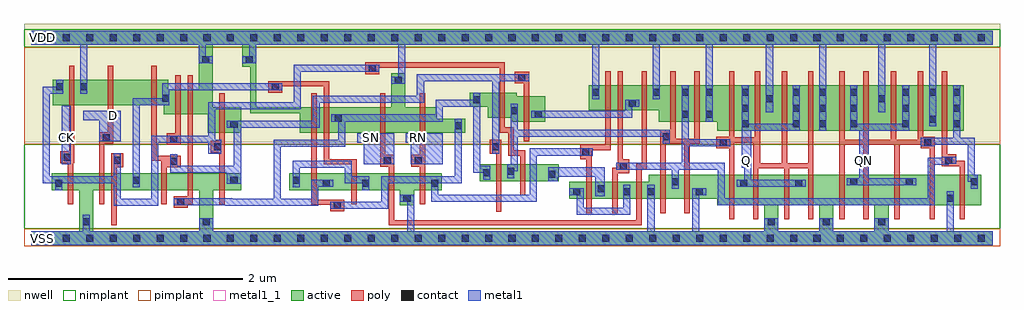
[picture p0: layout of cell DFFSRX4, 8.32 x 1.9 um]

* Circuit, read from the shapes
.subckt DFFSRX4 CK D Q QN RN SN VDD VSS
M1 VSS CK n1 VSS nfet w=0.145u l=0.045u
M2 n2 D VSS VSS nfet w=0.145u l=0.045u
M3 n3 n1 n2 VSS nfet w=0.145u l=0.045u
M4 n4 n5 n3 VSS nfet w=0.145u l=0.045u
M5 VSS n6 n4 VSS nfet w=0.145u l=0.045u
M6 n5 n1 VSS VSS nfet w=0.145u l=0.045u
M7 n6 n7 n8 VSS nfet w=0.145u l=0.045u
M8 n8 n3 n6 VSS nfet w=0.145u l=0.045u
M9 VSS SN n8 VSS nfet w=0.145u l=0.045u
M10 n7 RN VSS VSS nfet w=0.145u l=0.045u
M11 n9 n5 n6 VSS nfet w=0.145u l=0.045u
M12 n10 n1 n9 VSS nfet w=0.145u l=0.045u
M13 n10 n7 n11 VSS nfet w=0.145u l=0.045u
M14 n11 n12 n10 VSS nfet w=0.145u l=0.045u
M15 VSS SN n11 VSS nfet w=0.145u l=0.045u
M16 n12 n9 VSS VSS nfet w=0.205u l=0.045u m=2
M17 Q n12 VSS VSS nfet w=0.26u l=0.045u m=4
M18 QN n13 VSS VSS nfet w=0.26u l=0.045u m=4
M19 n13 n12 VSS VSS nfet w=0.26u l=0.045u
M20 VDD CK n1 VDD pfet w=0.215u l=0.045u
M21 n14 D VDD VDD pfet w=0.215u l=0.045u
M22 n3 n5 n14 VDD pfet w=0.215u l=0.045u
M23 n15 n1 n3 VDD pfet w=0.215u l=0.045u
M24 VDD n6 n15 VDD pfet w=0.215u l=0.045u
M25 n5 n1 VDD VDD pfet w=0.215u l=0.045u
M26 n16 n7 VDD VDD pfet w=0.215u l=0.045u
M27 n6 n3 n16 VDD pfet w=0.215u l=0.045u
M28 VDD SN n6 VDD pfet w=0.215u l=0.045u
M29 n7 RN VDD VDD pfet w=0.215u l=0.045u
M30 n9 n1 n6 VDD pfet w=0.215u l=0.045u
M31 n17 n5 n9 VDD pfet w=0.215u l=0.045u
M32 n18 n7 VDD VDD pfet w=0.215u l=0.045u
M33 n17 n12 n18 VDD pfet w=0.215u l=0.045u
M34 VDD SN n17 VDD pfet w=0.215u l=0.045u
M35 n12 n9 VDD VDD pfet w=0.31u l=0.045u m=2
M36 Q n12 VDD VDD pfet w=0.39u l=0.045u m=4
M37 QN n13 VDD VDD pfet w=0.39u l=0.045u m=4
M38 n13 n12 VDD VDD pfet w=0.39u l=0.045u
.ends

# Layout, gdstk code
import gdstk
lib = gdstk.Library(unit=1e-6, precision=5e-10)
def R(c, l, rs):  # rectangles x0, y0, x1, y1
    for r in rs: c.add(gdstk.rectangle(r[:2], r[2:], *l))
def A(c, l, x, y, w, h, nx, ny, dx, dy):  # array of equal rectangles
    R(c, l, [(x+i*dx, y+j*dy, x+i*dx+w, y+j*dy+h) for i in range(nx) for j in range(ny)])
def P(c, l, *ps):  # polygons
    for p in ps: c.add(gdstk.Polygon(p, *l))
active = (1, 0)
nwell = (2, 0)
poly = (3, 0)
nimplant = (4, 0)
pimplant = (5, 0)
contact = (6, 0)
metal1 = (7, 0)
metal1_1 = (7, 1)

dffsrx4 = lib.new_cell('DFFSRX4')
R(dffsrx4, active, [(3.825,0.485,4.5,0.63)])
P(dffsrx4, active, [(0,1.77),(8.2,1.77),(8.2,1.65),(1.92,1.65),(1.92,1.115),(3.07,1.115),(3.07,1.405),(3.19,1.405),(3.19,1.115),(3.46,1.115),(3.46,1.02),(3.7,1.02),(3.7,0.9),(2.29,0.9),(2.29,1.065),(1.87,1.065),(1.87,1.46),(1.8,1.46),(1.8,1.65),(1.55,1.65),(1.55,1.115),(1.79,1.115),(1.79,0.9),(1.505,0.9),(1.505,1.055),(1.13,1.055),(1.13,1.135),(0.185,1.135),(0.185,1.35),(1.17,1.35),(1.17,1.27),(1.43,1.27),(1.43,1.65),(0,1.65)],
  [(4.755,1.305),(7.95,1.305),(7.95,0.915),(5.85,0.915),(5.85,0.995),(5.35,0.995),(5.35,1.09),(4.755,1.09)],
  [(3.74,1.24),(4.14,1.24),(4.14,1.21),(4.385,1.21),(4.385,0.995),(4.1,0.995),(4.1,1.025),(3.895,1.025),(3.895,1.12),(3.74,1.12)],
  [(0.175,0.555),(1.79,0.555),(1.79,0.41),(1.555,0.41),(1.555,0.06),(6.25,0.06),(6.25,0.28),(6.37,0.28),(6.37,0.06),(6.72,0.06),(6.72,0.28),(6.84,0.28),(6.84,0.06),(7.19,0.06),(7.19,0.28),(5.85,0.28),(5.85,0.335),(4.59,0.335),(4.59,0.48),(5.265,0.48),(5.265,0.54),(8.1,0.54),(8.1,0.28),(7.31,0.28),(7.31,0.06),(8.2,0.06),(8.2,-0.06),(0,-0.06),(0,0.06),(0.41,0.06),(0.41,0.41),(0.53,0.41),(0.53,0.06),(1.435,0.06),(1.435,0.41),(0.175,0.41)],
  [(2.2,0.555),(3.5,0.555),(3.5,0.41),(3.265,0.41),(3.265,0.28),(3.145,0.28),(3.145,0.41),(2.2,0.41)])
R(dffsrx4, nwell, [(-0.06,0.82,8.26,1.83)])
P(dffsrx4, poly, [(0.325,1.47),(0.37,1.47),(0.37,0.64),(0.36,0.64),(0.36,0.29),(0.315,0.29),(0.315,0.64),(0.25,0.64),(0.25,0.74),(0.325,0.74)],
  [(0.655,1.47),(0.7,1.47),(0.7,0.805),(0.625,0.805),(0.625,0.29),(0.58,0.29),(0.58,0.905),(0.655,0.905)],
  [(1.025,1.47),(1.07,1.47),(1.07,0.705),(1.275,0.705),(1.275,0.605),(1.155,0.605),(1.155,0.29),(1.11,0.29),(1.11,0.66),(1.025,0.66)],
  [(1.23,1.39),(1.275,1.39),(1.275,0.795),(1.155,0.795),(1.155,0.895),(1.23,0.895)],
  [(1.335,1.39),(1.38,1.39),(1.38,0.29),(1.335,0.29),(1.335,0.26),(1.215,0.26),(1.215,0.36),(1.335,0.36)],
  [(2.85,1.5),(4.04,1.5),(4.04,0.945),(4.115,0.945),(4.115,0.75),(4.215,0.75),(4.215,0.365),(4.17,0.365),(4.17,0.705),(4.07,0.705),(4.07,0.9),(3.995,0.9),(3.995,1.455),(2.97,1.455),(2.97,1.4),(2.85,1.4)],
  [(1.605,1.235),(1.65,1.235),(1.65,0.29),(1.605,0.29),(1.605,0.73),(1.53,0.73),(1.53,0.83),(1.605,0.83)],
  [(2.02,1.34),(2.54,1.34),(2.54,0.675),(2.775,0.675),(2.775,0.29),(2.73,0.29),(2.73,0.63),(2.495,0.63),(2.495,1.295),(2.14,1.295),(2.14,1.24),(2.02,1.24)],
  [(2.39,1.235),(2.435,1.235),(2.435,0.33),(2.67,0.33),(2.67,0.23),(2.55,0.23),(2.55,0.285),(2.39,0.285)],
  [(4.125,1.42),(4.245,1.42),(4.245,0.825),(4.2,0.825),(4.2,1.32),(4.125,1.32)],
  [(4.895,1.425),(4.94,1.425),(4.94,0.75),(4.78,0.75),(4.78,0.215),(4.735,0.215),(4.735,0.675),(4.68,0.675),(4.68,0.795),(4.895,0.795)],
  [(5,1.425),(5.045,1.425),(5.045,0.675),(5.1,0.675),(5.1,0.555),(5,0.555),(5,0.215),(4.955,0.215),(4.955,0.6),(5,0.6)],
  [(2.975,1.235),(3.02,1.235),(3.02,0.71),(3.095,0.71),(3.095,0.155),(5.16,0.155),(5.16,0.635),(5.205,0.635),(5.205,1.425),(5.25,1.425),(5.25,0.59),(5.205,0.59),(5.205,0.11),(3.05,0.11),(3.05,0.61),(2.975,0.61)],
  [(5.45,1.425),(5.495,1.425),(5.495,0.85),(5.655,0.85),(5.655,1.425),(5.7,1.425),(5.7,0.805),(5.615,0.805),(5.615,0.215),(5.57,0.215),(5.57,0.805),(5.41,0.805),(5.41,0.215),(5.365,0.215),(5.365,0.925),(5.45,0.925)],
  [(5.95,1.425),(5.995,1.425),(5.995,0.86),(6.17,0.86),(6.17,1.425),(6.215,1.425),(6.215,0.64),(6.4,0.64),(6.4,1.425),(6.445,1.425),(6.445,0.64),(6.625,0.64),(6.625,1.425),(6.67,1.425),(6.67,0.16),(6.625,0.16),(6.625,0.595),(6.465,0.595),(6.465,0.16),(6.42,0.16),(6.42,0.595),(6.2,0.595),(6.2,0.16),(6.155,0.16),(6.155,0.815),(5.995,0.815),(5.995,0.16),(5.95,0.16),(5.95,0.765),(5.84,0.765),(5.84,0.865),(5.95,0.865)],
  [(6.89,1.425),(6.935,1.425),(6.935,0.84),(7.095,0.84),(7.095,1.425),(7.14,1.425),(7.14,0.84),(7.33,0.84),(7.33,1.425),(7.375,1.425),(7.375,0.84),(7.56,0.84),(7.56,1.425),(7.605,1.425),(7.605,0.865),(7.705,0.865),(7.705,0.16),(7.66,0.16),(7.66,0.765),(7.585,0.765),(7.585,0.795),(7.405,0.795),(7.405,0.16),(7.36,0.16),(7.36,0.795),(7.14,0.795),(7.14,0.16),(7.095,0.16),(7.095,0.795),(6.935,0.795),(6.935,0.16),(6.89,0.16)],
  [(7.765,1.425),(7.81,1.425),(7.81,0.715),(7.885,0.715),(7.885,0.66),(7.96,0.66),(7.96,0.16),(7.915,0.16),(7.915,0.615),(7.765,0.615)],
  [(0.685,0.725),(0.785,0.725),(0.785,0.605),(0.73,0.605),(0.73,0.11),(0.685,0.11)],
  [(3.315,1.235),(3.36,1.235),(3.36,0.29),(3.315,0.29),(3.315,0.61),(3.24,0.61),(3.24,0.71),(3.315,0.71)],
  [(3.91,0.84),(4.01,0.84),(4.01,0.225),(3.965,0.225),(3.965,0.72),(3.91,0.72)])
R(dffsrx4, nimplant, [(-0.06,0.08,8.26,0.8), (-0.06,1.63,8.26,1.78)])
R(dffsrx4, pimplant, [(-0.06,-0.07,8.26,0.08), (-0.06,0.8,8.26,1.63)])
A(dffsrx4, contact, 0.07, -0.03, 0.06, 0.06, 41, 2, 0.2, 1.71)
A(dffsrx4, contact, 6.28, 0.11, 0.06, 0.06, 3, 1, 0.47, 0)
A(dffsrx4, contact, 6.06, 0.945, 0.06, 0.06, 1, 3, 0, 0.135)
A(dffsrx4, contact, 6.495, 0.945, 0.06, 0.06, 1, 3, 0, 0.135)
A(dffsrx4, contact, 6.72, 0.945, 0.06, 0.06, 1, 3, 0, 0.135)
A(dffsrx4, contact, 6.985, 0.945, 0.06, 0.06, 1, 3, 0, 0.135)
A(dffsrx4, contact, 7.425, 0.945, 0.06, 0.06, 1, 3, 0, 0.135)
A(dffsrx4, contact, 7.86, 0.945, 0.06, 0.06, 1, 3, 0, 0.135)
R(dffsrx4, contact, [(0.44,0.11,0.5,0.17), (1.465,0.11,1.525,0.17), (2.58,0.25,2.64,0.31), (1.245,0.28,1.305,0.34), (3.175,0.31,3.235,0.37), (7.805,0.31,7.865,0.37), (4.62,0.365,4.68,0.425), (5.05,0.365,5.11,0.425), (5.255,0.365,5.315,0.425), (5.665,0.365,5.725,0.425), (4.83,0.39,4.89,0.45), (0.205,0.44,0.265,0.5), (2.485,0.44,2.545,0.5), (2.825,0.44,2.885,0.5), (3.41,0.44,3.47,0.5), (6.045,0.44,6.105,0.5), (6.515,0.44,6.575,0.5), (5.46,0.45,5.52,0.51), (6.985,0.45,7.045,0.51), (7.455,0.45,7.515,0.51), (8.01,0.45,8.07,0.51), (0.865,0.465,0.925,0.525), (1.7,0.465,1.76,0.525), (2.23,0.465,2.29,0.525), (4.41,0.515,4.47,0.575), (3.855,0.53,3.915,0.59), (4.06,0.54,4.12,0.6), (5.02,0.585,5.08,0.645), (1.185,0.625,1.245,0.685), (3.005,0.63,3.065,0.69), (3.27,0.63,3.33,0.69), (0.705,0.635,0.765,0.695), (7.795,0.635,7.855,0.695), (0.28,0.66,0.34,0.72), (4.7,0.705,4.76,0.765), (1.56,0.75,1.62,0.81), (3.93,0.75,3.99,0.81), (5.87,0.785,5.93,0.845), (7.615,0.785,7.675,0.845), (1.185,0.815,1.245,0.875), (0.61,0.825,0.67,0.885), (5.385,0.835,5.445,0.895), (3.61,0.93,3.67,0.99), (1.7,0.94,1.76,1), (7.655,0.985,7.715,1.045), (2.59,0.995,2.65,1.055), (4.295,1.025,4.355,1.085), (5.545,1.025,5.605,1.085), (5.75,1.025,5.81,1.085), (4.09,1.055,4.15,1.115), (5.095,1.12,5.155,1.18), (3.77,1.15,3.83,1.21), (6.265,1.16,6.325,1.22), (7.22,1.16,7.28,1.22), (1.12,1.165,1.18,1.225), (4.785,1.215,4.845,1.275), (5.3,1.215,5.36,1.275), (5.545,1.215,5.605,1.275), (5.75,1.215,5.81,1.275), (7.655,1.215,7.715,1.275), (0.215,1.26,0.275,1.32), (0.42,1.26,0.48,1.32), (2.05,1.26,2.11,1.32), (3.1,1.315,3.16,1.375), (4.155,1.34,4.215,1.4), (2.88,1.42,2.94,1.48), (1.46,1.49,1.52,1.55), (1.83,1.49,1.89,1.55)])
R(dffsrx4, metal1, [(0.26,0.63,0.34,1.13)])
P(dffsrx4, metal1, [(0,1.77),(8.2,1.77),(8.2,1.65),(7.715,1.65),(7.715,0.955),(7.655,0.955),(7.655,1.65),(7.28,1.65),(7.28,1.075),(7.22,1.075),(7.22,1.65),(6.78,1.65),(6.78,0.915),(6.72,0.915),(6.72,1.65),(6.325,1.65),(6.325,1.075),(6.265,1.075),(6.265,1.65),(5.81,1.65),(5.81,0.995),(5.75,0.995),(5.75,1.65),(5.36,1.65),(5.36,1.185),(5.3,1.185),(5.3,1.65),(4.845,1.65),(4.845,1.185),(4.785,1.185),(4.785,1.65),(3.19,1.65),(3.19,1.315),(3.07,1.315),(3.07,1.375),(3.13,1.375),(3.13,1.65),(1.92,1.65),(1.92,1.49),(1.8,1.49),(1.8,1.55),(1.86,1.55),(1.86,1.65),(1.49,1.65),(1.49,1.55),(1.55,1.55),(1.55,1.49),(1.43,1.49),(1.43,1.65),(0.48,1.65),(0.48,1.23),(0.42,1.23),(0.42,1.65),(0,1.65)],
  [(1.12,1.32),(2.14,1.32),(2.14,1.26),(1.18,1.26),(1.18,1.135),(0.925,1.135),(0.925,0.435),(0.865,0.435),(0.865,1.195),(1.12,1.195)],
  [(2.24,1.48),(2.97,1.48),(2.97,1.42),(2.3,1.42),(2.3,1.1),(1.57,1.1),(1.57,0.84),(1.62,0.84),(1.62,0.72),(1.51,0.72),(1.51,0.815),(1.085,0.815),(1.085,0.275),(0.705,0.275),(0.705,0.47),(0.265,0.47),(0.265,0.41),(0.205,0.41),(0.205,0.47),(0.1,0.47),(0.1,1.29),(0.215,1.29),(0.215,1.35),(0.275,1.35),(0.275,1.23),(0.16,1.23),(0.16,0.53),(0.705,0.53),(0.705,0.725),(0.765,0.725),(0.765,0.335),(1.025,0.335),(1.025,0.875),(1.51,0.875),(1.51,1.16),(2.24,1.16)],
  [(3.29,1.4),(4.245,1.4),(4.245,1.34),(3.99,1.34),(3.99,0.72),(3.93,0.72),(3.93,1.34),(3.35,1.34),(3.35,1.155),(2.46,1.155),(2.46,0.94),(1.79,0.94),(1.79,0.465),(1.67,0.465),(1.67,0.56),(1.185,0.56),(1.185,0.715),(1.245,0.715),(1.245,0.62),(1.73,0.62),(1.73,0.94),(1.67,0.94),(1.67,1),(2.4,1),(2.4,1.215),(3.29,1.215)],
  [(3.77,1.24),(3.83,1.24),(3.83,0.62),(3.915,0.62),(3.915,0.5),(3.855,0.5),(3.855,0.56),(3.77,0.56),(3.77,1.12),(3.51,1.12),(3.51,0.995),(2.68,0.995),(2.68,0.78),(2.13,0.78),(2.13,0.335),(2.39,0.335),(2.39,0.5),(2.575,0.5),(2.575,0.44),(2.45,0.44),(2.45,0.275),(1.655,0.275),(1.655,0.28),(1.215,0.28),(1.215,0.34),(1.715,0.34),(1.715,0.335),(2.07,0.335),(2.07,0.84),(2.62,0.84),(2.62,0.995),(2.56,0.995),(2.56,1.055),(3.45,1.055),(3.45,1.18),(3.77,1.18)],
  [(0.445,1.085),(0.765,1.085),(0.765,0.825),(0.58,0.825),(0.58,1.005),(0.445,1.005)],
  [(3.61,1.02),(3.67,1.02),(3.67,0.47),(3.47,0.47),(3.47,0.37),(4.25,0.37),(4.25,0.765),(4.79,0.765),(4.79,0.705),(4.31,0.705),(4.31,0.31),(3.41,0.31),(3.41,0.47),(3.045,0.47),(3.045,0.25),(2.55,0.25),(2.55,0.31),(2.985,0.31),(2.985,0.53),(3.61,0.53)],
  [(2.78,0.895),(3.095,0.895),(3.095,0.63),(2.835,0.63),(2.835,0.815),(2.78,0.815)],
  [(3.195,0.895),(3.51,0.895),(3.51,0.63),(3.235,0.63),(3.235,0.815),(3.195,0.815)],
  [(2.23,0.66),(2.735,0.66),(2.735,0.53),(2.885,0.53),(2.885,0.41),(2.825,0.41),(2.825,0.47),(2.675,0.47),(2.675,0.6),(2.29,0.6),(2.29,0.435),(2.23,0.435)],
  [(4.09,1.145),(4.15,1.145),(4.15,0.925),(5.445,0.925),(5.445,0.805),(5.385,0.805),(5.385,0.865),(4.15,0.865),(4.15,0.57),(4.12,0.57),(4.12,0.51),(4.06,0.51),(4.06,0.63),(4.09,0.63)],
  [(5.065,1.18),(5.185,1.18),(5.185,1.12),(5.125,1.12),(5.125,1.025),(4.265,1.025),(4.265,1.085),(5.065,1.085)],
  [(5.545,1.305),(5.605,1.305),(5.605,0.845),(5.96,0.845),(5.96,0.785),(5.605,0.785),(5.605,0.645),(5.915,0.645),(5.915,0.34),(7.645,0.34),(7.645,0.685),(7.765,0.685),(7.765,0.695),(7.885,0.695),(7.885,0.635),(7.825,0.635),(7.825,0.625),(7.705,0.625),(7.705,0.28),(5.855,0.28),(5.855,0.585),(5.52,0.585),(5.52,0.42),(5.46,0.42),(5.46,0.585),(4.99,0.585),(4.99,0.645),(5.545,0.645)],
  [(6.06,1.305),(6.12,1.305),(6.12,0.975),(6.495,0.975),(6.495,1.305),(6.555,1.305),(6.555,0.915),(6.14,0.915),(6.14,0.5),(6.605,0.5),(6.605,0.44),(6.015,0.44),(6.015,0.5),(6.08,0.5),(6.08,0.6),(6.06,0.6)],
  [(6.985,1.305),(7.045,1.305),(7.045,0.975),(7.425,0.975),(7.425,1.305),(7.485,1.305),(7.485,0.915),(7.14,0.915),(7.14,0.51),(7.545,0.51),(7.545,0.45),(6.955,0.45),(6.955,0.51),(7.06,0.51),(7.06,0.915),(6.985,0.915)],
  [(7.86,1.305),(7.92,1.305),(7.92,0.855),(8.045,0.855),(8.045,0.54),(8.07,0.54),(8.07,0.42),(8.01,0.42),(8.01,0.48),(7.985,0.48),(7.985,0.795),(7.705,0.795),(7.705,0.785),(7.585,0.785),(7.585,0.855),(7.86,0.855)],
  [(3.145,0.37),(3.265,0.37),(3.265,0.06),(5.255,0.06),(5.255,0.455),(5.315,0.455),(5.315,0.06),(5.635,0.06),(5.635,0.425),(5.755,0.425),(5.755,0.365),(5.695,0.365),(5.695,0.06),(6.25,0.06),(6.25,0.17),(6.37,0.17),(6.37,0.06),(6.72,0.06),(6.72,0.17),(6.84,0.17),(6.84,0.06),(7.19,0.06),(7.19,0.17),(7.31,0.17),(7.31,0.06),(7.805,0.06),(7.805,0.4),(7.865,0.4),(7.865,0.06),(8.2,0.06),(8.2,-0.06),(0,-0.06),(0,0.06),(0.44,0.06),(0.44,0.2),(0.5,0.2),(0.5,0.06),(1.435,0.06),(1.435,0.17),(1.555,0.17),(1.555,0.06),(3.205,0.06),(3.205,0.31),(3.145,0.31)],
  [(4.41,0.605),(4.89,0.605),(4.89,0.36),(4.81,0.36),(4.81,0.525),(4.49,0.525),(4.49,0.485),(4.41,0.485)],
  [(4.59,0.425),(4.71,0.425),(4.71,0.26),(5.05,0.26),(5.05,0.455),(5.11,0.455),(5.11,0.2),(4.65,0.2),(4.65,0.365),(4.59,0.365)])
R(dffsrx4, metal1_1, [(0.06,-0.04,0.14,0.04), (6.06,0.625,6.14,0.705), (7.06,0.625,7.14,0.705), (0.26,0.815,0.34,0.895), (2.86,0.815,2.94,0.895), (3.26,0.815,3.34,0.895), (0.66,1.005,0.74,1.085), (0.06,1.67,0.14,1.75)])
dffsrx4.add(gdstk.Label('QN', (7.1,0.665), layer=7, texttype=1))
dffsrx4.add(gdstk.Label('Q', (6.1,0.665), layer=7, texttype=1))
dffsrx4.add(gdstk.Label('RN', (3.3,0.855), layer=7, texttype=1))
dffsrx4.add(gdstk.Label('SN', (2.9,0.855), layer=7, texttype=1))
dffsrx4.add(gdstk.Label('D', (0.7,1.045), layer=7, texttype=1))
dffsrx4.add(gdstk.Label('CK', (0.3,0.855), layer=7, texttype=1))
dffsrx4.add(gdstk.Label('VDD', (0.1,1.71), layer=7, texttype=1))
dffsrx4.add(gdstk.Label('VSS', (0.1,0), layer=7, texttype=1))
dffsrx4.add(gdstk.Label('DFFSRX4', (0,0), layer=63, texttype=0))

lib.write_gds('DFFSRX4.gds')
